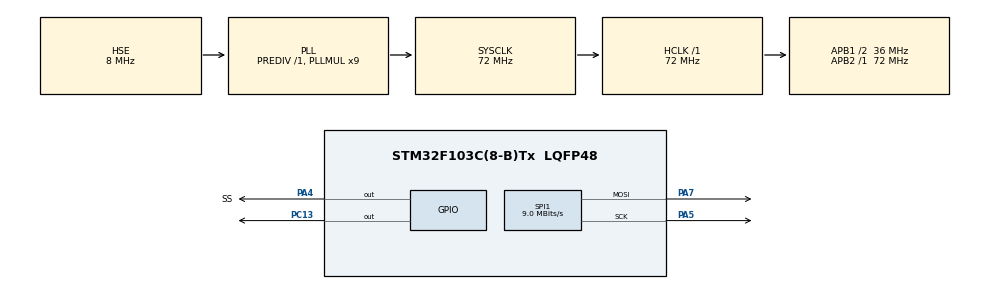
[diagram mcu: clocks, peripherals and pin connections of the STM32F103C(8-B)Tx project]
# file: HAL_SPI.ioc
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Dma.Request0=SPI1_TX
Dma.SPI1_TX.0.Direction=DMA_MEMORY_TO_PERIPH
Dma.SPI1_TX.0.Instance=DMA1_Channel3
Dma.SPI1_TX.0.MemDataAlignment=DMA_MDATAALIGN_BYTE
Dma.SPI1_TX.0.MemInc=DMA_MINC_ENABLE
Dma.SPI1_TX.0.Mode=DMA_NORMAL
Dma.SPI1_TX.0.PeriphDataAlignment=DMA_PDATAALIGN_BYTE
Dma.SPI1_TX.0.PeriphInc=DMA_PINC_DISABLE
Dma.SPI1_TX.0.Priority=DMA_PRIORITY_LOW
Mcu.Family=STM32F1
Mcu.Name=STM32F103C(8-B)Tx
Mcu.Package=LQFP48
NVIC.DMA1_Channel3_IRQn=true\:0\:0\:false\:false\:true\:false\:true\:true
NVIC.PriorityGroup=NVIC_PRIORITYGROUP_4
PA13.Mode=Serial_Wire
PA13.Signal=SYS_JTMS-SWDIO
PA14.Mode=Serial_Wire
PA14.Signal=SYS_JTCK-SWCLK
PA4.GPIO_Label=SS
PA4.GPIO_PuPd=GPIO_PULLUP
PA4.Signal=GPIO_Output
PA5.Mode=TX_Only_Simplex_Unidirect_Master
PA5.Signal=SPI1_SCK
PA7.Mode=TX_Only_Simplex_Unidirect_Master
PA7.Signal=SPI1_MOSI
PC13-TAMPER-RTC.GPIO_PuPd=GPIO_PULLDOWN
PC13-TAMPER-RTC.Signal=GPIO_Output
PD0-OSC_IN.Mode=HSE-External-Oscillator
PD0-OSC_IN.Signal=RCC_OSC_IN
PD1-OSC_OUT.Mode=HSE-External-Oscillator
PD1-OSC_OUT.Signal=RCC_OSC_OUT
ProjectManager.HeapSize=0x200
ProjectManager.StackSize=0x400
ProjectManager.TargetToolchain=MDK-ARM V5.32
RCC.AHBFreq_Value=72000000
RCC.APB1CLKDivider=RCC_HCLK_DIV2
RCC.APB1Freq_Value=36000000
RCC.APB1TimFreq_Value=72000000
RCC.APB2Freq_Value=72000000
RCC.APB2TimFreq_Value=72000000
RCC.HCLKFreq_Value=72000000
RCC.PLLMUL=RCC_PLL_MUL9
RCC.PLLSourceVirtual=RCC_PLLSOURCE_HSE
RCC.SYSCLKFreq_VALUE=72000000
RCC.SYSCLKSource=RCC_SYSCLKSOURCE_PLLCLK
RCC.USBFreq_Value=72000000
SPI1.BaudRatePrescaler=SPI_BAUDRATEPRESCALER_8
SPI1.CLKPolarity=SPI_POLARITY_HIGH
SPI1.CalculateBaudRate=9.0 MBits/s
SPI1.Direction=SPI_DIRECTION_2LINES
SPI1.FirstBit=SPI_FIRSTBIT_MSB
SPI1.Mode=SPI_MODE_MASTER
SPI1.VirtualType=VM_MASTER
board=custom

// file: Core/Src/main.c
/* USER CODE BEGIN Header */
/**
  ******************************************************************************
  * @file           : main.c
  * @brief          : Main program body
  ******************************************************************************
  * @attention
  *
  * Copyright (c) 2023 STMicroelectronics.
  * All rights reserved.
  *
  * This software is licensed under terms that can be found in the LICENSE file
  * in the root directory of this software component.
  * If no LICENSE file comes with this software, it is provided AS-IS.
  *
  ******************************************************************************
  */
/* USER CODE END Header */
#include "main.h"

SPI_HandleTypeDef hspi1;
DMA_HandleTypeDef hdma_spi1_tx;

void SystemClock_Config(void);
static void MX_GPIO_Init(void);
static void MX_DMA_Init(void);
static void MX_SPI1_Init(void);

/* USER CODE BEGIN 0 */
#define CS_PIN_Set()		HAL_GPIO_WritePin(GPIOA, GPIO_PIN_4, GPIO_PIN_RESET);
#define CS_PIN_Reset()	HAL_GPIO_WritePin(GPIOA, GPIO_PIN_4, GPIO_PIN_SET);

uint8_t data = 0xEF;
uint8_t* dataPos;

void toggle_led(){
	HAL_GPIO_TogglePin(GPIOC, GPIO_PIN_13);
	HAL_Delay(50);
	HAL_GPIO_TogglePin(GPIOC, GPIO_PIN_13);
	HAL_Delay(50);
}

//Config MAX7219
void max7219_writeData(uint8_t address, uint8_t data){
	CS_PIN_Set();
	HAL_StatusTypeDef fd1 = HAL_SPI_Transmit(&hspi1, &address, 1, HAL_MAX_DELAY);
	CS_PIN_Reset();

	CS_PIN_Set();
	HAL_StatusTypeDef fd2 = HAL_SPI_Transmit(&hspi1, &data, 1, HAL_MAX_DELAY);
	CS_PIN_Reset();
	//HAL_Delay(50);
	if(fd1 == HAL_OK && fd2 == HAL_OK) toggle_led();
}

void max7219_Clean(){
	/*
	Reset all MAX7219 register
	*/
	for(int reg = 1; reg <= 0xC; reg++){
		max7219_writeData(reg, 0x00);
	}
	max7219_writeData(0xF, 0x00);
}

void max7219_TurnOn(){
	max7219_writeData(0xC, 0x01);
}

void max7219_SetIntensity(uint8_t intensity){
	max7219_writeData(0xA, intensity);
}

void max7219_SetScanLimit(){
	max7219_writeData(0xB, 	0x7);
}

/* USER CODE END 0 */

int main(void)

{

  /* MCU Configuration--------------------------------------------------------*/

  /* Reset of all peripherals, Initializes the Flash interface and the Systick. */
  HAL_Init();

  /* Configure the system clock */
  SystemClock_Config();

  /* Initialize all configured peripherals */
  MX_GPIO_Init();
  MX_DMA_Init();
  MX_SPI1_Init();
  /* USER CODE BEGIN 2 */
	CS_PIN_Reset();

	//max7219_Clean();
	//max7219_SetScanLimit();
  /* USER CODE END 2 */

  /* Infinite loop */
  /* USER CODE BEGIN WHILE */
	//max7219_TurnOn();
	//max7219_Clean();

	//CS_PIN_Set();
	//HAL_StatusTypeDef fd1 = HAL_SPI_Transmit(&hspi1, &data, 1, HAL_MAX_DELAY);
	//CS_PIN_Reset();
	//max7219_TurnOn();
	max7219_TurnOn();
	max7219_SetIntensity(0xa);

	while (1)
  {
    /* USER CODE END WHILE */

    /* USER CODE BEGIN 3 */
		dataPos = &data;
		CS_PIN_Set();
		HAL_SPI_Transmit_DMA(&hspi1, &data, 1);
		CS_PIN_Reset();
		HAL_Delay(100);

  }
  /* USER CODE END 3 */
}

void SystemClock_Config(void)
{
  RCC_OscInitTypeDef RCC_OscInitStruct = {0};
  RCC_ClkInitTypeDef RCC_ClkInitStruct = {0};

  /** Initializes the RCC Oscillators according to the specified parameters
  * in the RCC_OscInitTypeDef structure.
  */
  RCC_OscInitStruct.OscillatorType = RCC_OSCILLATORTYPE_HSE;
  RCC_OscInitStruct.HSEState = RCC_HSE_ON;
  RCC_OscInitStruct.HSEPredivValue = RCC_HSE_PREDIV_DIV1;
  RCC_OscInitStruct.HSIState = RCC_HSI_ON;
  RCC_OscInitStruct.PLL.PLLState = RCC_PLL_ON;
  RCC_OscInitStruct.PLL.PLLSource = RCC_PLLSOURCE_HSE;
  RCC_OscInitStruct.PLL.PLLMUL = RCC_PLL_MUL9;
  if (HAL_RCC_OscConfig(&RCC_OscInitStruct) != HAL_OK)
  {
    Error_Handler();
  }

  /** Initializes the CPU, AHB and APB buses clocks
  */
  RCC_ClkInitStruct.ClockType = RCC_CLOCKTYPE_HCLK|RCC_CLOCKTYPE_SYSCLK
                              |RCC_CLOCKTYPE_PCLK1|RCC_CLOCKTYPE_PCLK2;
  RCC_ClkInitStruct.SYSCLKSource = RCC_SYSCLKSOURCE_PLLCLK;
  RCC_ClkInitStruct.AHBCLKDivider = RCC_SYSCLK_DIV1;
  RCC_ClkInitStruct.APB1CLKDivider = RCC_HCLK_DIV2;
  RCC_ClkInitStruct.APB2CLKDivider = RCC_HCLK_DIV1;

  if (HAL_RCC_ClockConfig(&RCC_ClkInitStruct, FLASH_LATENCY_2) != HAL_OK)
  {
    Error_Handler();
  }
}

static void MX_SPI1_Init(void)
{

  /* SPI1 parameter configuration*/
  hspi1.Instance = SPI1;
  hspi1.Init.Mode = SPI_MODE_MASTER;
  hspi1.Init.Direction = SPI_DIRECTION_2LINES;
  hspi1.Init.DataSize = SPI_DATASIZE_8BIT;
  hspi1.Init.CLKPolarity = SPI_POLARITY_HIGH;
  hspi1.Init.CLKPhase = SPI_PHASE_1EDGE;
  hspi1.Init.NSS = SPI_NSS_SOFT;
  hspi1.Init.BaudRatePrescaler = SPI_BAUDRATEPRESCALER_8;
  hspi1.Init.FirstBit = SPI_FIRSTBIT_MSB;
  hspi1.Init.TIMode = SPI_TIMODE_DISABLE;
  hspi1.Init.CRCCalculation = SPI_CRCCALCULATION_DISABLE;
  hspi1.Init.CRCPolynomial = 10;
  if (HAL_SPI_Init(&hspi1) != HAL_OK)
  {
    Error_Handler();
  }

}

static void MX_DMA_Init(void)
{

  /* DMA controller clock enable */
  __HAL_RCC_DMA1_CLK_ENABLE();

  /* DMA interrupt init */
  /* DMA1_Channel3_IRQn interrupt configuration */
  HAL_NVIC_SetPriority(DMA1_Channel3_IRQn, 0, 0);
  HAL_NVIC_EnableIRQ(DMA1_Channel3_IRQn);

}

static void MX_GPIO_Init(void)
{
  GPIO_InitTypeDef GPIO_InitStruct = {0};

  /* GPIO Ports Clock Enable */
  __HAL_RCC_GPIOC_CLK_ENABLE();
  __HAL_RCC_GPIOD_CLK_ENABLE();
  __HAL_RCC_GPIOA_CLK_ENABLE();

  /*Configure GPIO pin Output Level */
  HAL_GPIO_WritePin(GPIOC, GPIO_PIN_13, GPIO_PIN_RESET);

  /*Configure GPIO pin Output Level */
  HAL_GPIO_WritePin(SS_GPIO_Port, SS_Pin, GPIO_PIN_RESET);

  /*Configure GPIO pin : PC13 */
  GPIO_InitStruct.Pin = GPIO_PIN_13;
  GPIO_InitStruct.Mode = GPIO_MODE_OUTPUT_PP;
  GPIO_InitStruct.Pull = GPIO_PULLDOWN;
  GPIO_InitStruct.Speed = GPIO_SPEED_FREQ_LOW;
  HAL_GPIO_Init(GPIOC, &GPIO_InitStruct);

  /*Configure GPIO pin : SS_Pin */
  GPIO_InitStruct.Pin = SS_Pin;
  GPIO_InitStruct.Mode = GPIO_MODE_OUTPUT_PP;
  GPIO_InitStruct.Pull = GPIO_PULLUP;
  GPIO_InitStruct.Speed = GPIO_SPEED_FREQ_LOW;
  HAL_GPIO_Init(SS_GPIO_Port, &GPIO_InitStruct);

}

void Error_Handler(void)
{
  __disable_irq();
  while (1)
  {
  }
}
